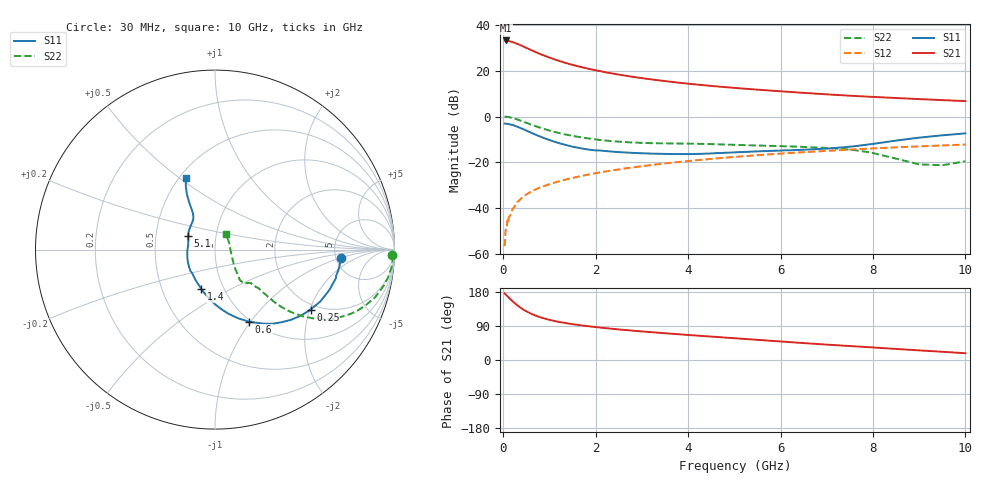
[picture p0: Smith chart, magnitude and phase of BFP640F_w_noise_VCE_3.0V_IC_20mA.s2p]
! Infineon Technologies  Discrete & RF Semiconductors
! BFP640F
! VCE =  3.0 V,  IC =  20 mA
! Common Emitter S-Parameters:  Apr 2013
# GHz  S  MA  R  50
!  f  S11  S21  S12  S22
! GHz  MAG  ANG  MAG  ANG  MAG  ANG  MAG  ANG
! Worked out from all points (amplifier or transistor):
!   99 points, 30 MHz to 10 GHz, reference 50 ohm
!   highest |S21| = 33.1 dB at 50 MHz (marker M1)
!   |S21| within 3 dB of that: start of sweep to 475.2 MHz
!   unconditionally stable (mu >= 1): 2.241 GHz to end of sweep
!   at 350 MHz: K = 0.36, MSG = 33.9 dB, |S12| = -36.5 dB
!   at 3.5 GHz: K = 1.05, MAG = 16.5 dB, |S12| = -20.4 dB
!   at 10 GHz: K = 1.05, MAG = 8.1 dB, |S12| = -12.2 dB
!   lowest NFmin = 0.82 dB at 450 MHz
!   S11 on the Smith chart (normalised r, x): 30 MHz: 5.53, -1.04; 250 MHz: 1.83, -2.02; 600 MHz: 0.98, -0.99; 1.4 GHz: 0.78, -0.37; 5.1 GHz: 0.73, +0.11; 10 GHz: 0.54, +0.53
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0.03  0.7028 -3.9  45.03 175.9  0.0015 89.3  0.9879 -1.9
0.05  0.6998 -7.1  45.35 173.5  0.0033 53.8  0.9914 -4.1
0.07  0.6968 -9.3  45 170.7  0.0036 93.0  0.989 -5.6
0.15  0.6736 -20.0  43.3 161.0  0.0069 85.3  0.9582 -12.5
0.2  0.6545 -26.2  41.78 155.2  0.0094 80.2  0.9314 -16.5
0.25  0.6288 -32.1  40.15 149.8  0.0112 77.0  0.8994 -19.8
0.3  0.6024 -37.8  38.44 144.8  0.0136 76.4  0.866 -23.0
0.4  0.5463 -48.0  34.8 135.9  0.0168 72.6  0.7942 -28.2
0.5  0.4936 -56.7  31.3 128.6  0.0201 71.3  0.729 -32.1
0.6  0.4454 -64.6  28.15 122.4  0.023 70.1  0.6684 -35.0
0.7  0.4025 -71.6  25.4 117.2  0.0258 68.9  0.6165 -37.1
0.8  0.3661 -78.0  23 112.9  0.0285 68.6  0.569 -38.8
0.9  0.3345 -83.8  20.98 109.2  0.031 68.1  0.5291 -39.9
1.1  0.2844 -94.5  17.69 103.2  0.0361 67.6  0.4641 -41.2
1.4  0.2335 -108.8  14.22 96.4  0.0435 66.9  0.3964 -41.7
1.7  0.2015 -122.2  11.87 91.2  0.0508 66.3  0.3498 -41.5
2.4  0.1706 -149.2  8.523 81.9  0.0681 64.1  0.2885 -42.7
3.4  0.1542 -177.1  6.076 71.6  0.0925 60.6  0.2608 -45.4
5.1  0.1673 153.2  4.129 56.6  0.1341 52.6  0.2402 -49.6
6.7  0.1932 132.6  3.18 43.0  0.1715 43.9  0.2134 -50.4
8.5  0.2993 118.7  2.53 29.2  0.2131 34.0  0.1211 -33.8
10  0.4291 112.1  2.169 17.9  0.2451 25.4  0.1059 54.0
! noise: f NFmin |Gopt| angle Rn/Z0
0.45  0.82  0.01  19  0.06
0.9  0.82  0.01  55  0.06
1.5  0.85  0.01  87  0.07
1.9  0.87  0.02  120  0.07
2.4  0.9  0.03  140  0.08
3.5  0.98  0.05  171  0.09
5.5  1.16  0.18  -132  0.12
10  1.64  0.41  -89  0.39
